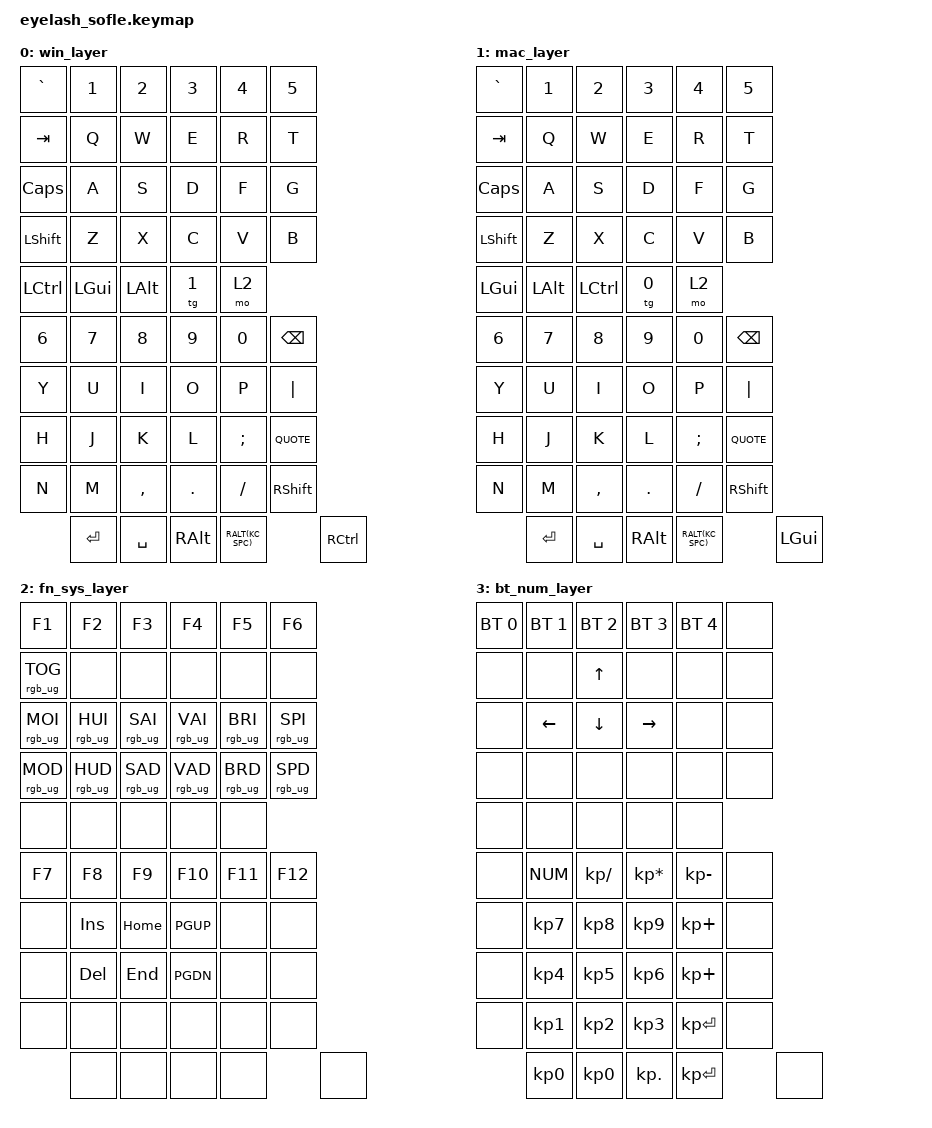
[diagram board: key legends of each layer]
#include <behaviors.dtsi>
#include <dt-bindings/zmk/keys.h>
#include <dt-bindings/zmk/rgb.h>
#include <dt-bindings/zmk/bt.h>

/ {
    keymap {
        compatible = "zmk,keymap";

        // Layer 0: Win Layer (Windows-based QWERTY)
        win_layer {
            bindings = <
                // Left Hand
                &kp GRAVE  &kp N1     &kp N2     &kp N3     &kp N4     &kp N5    // Row 1
                &kp TAB    &kp Q      &kp W      &kp E      &kp R      &kp T     // Row 2
                &kp CAPS   &kp A      &kp S      &kp D      &kp F      &kp G     // Row 3
                &kp LSHIFT &kp Z      &kp X      &kp C      &kp V      &kp B     // Row 4
                &kp LCTRL  &kp LGUI   &kp LALT   &tg 1      &mo 2             // Thumb row

                // Right Hand
                &kp N6     &kp N7     &kp N8     &kp N9     &kp N0     &kp BSPC  // Row 1
                &kp Y      &kp U      &kp I      &kp O      &kp P      &kp PIPE // Row 2
                &kp H      &kp J      &kp K      &kp L      &kp SCLN   &kp QUOTE // Row 3
                &kp N      &kp M      &kp COMMA  &kp DOT    &kp SLASH  &kp RSHIFT// Row 4
                           &kp ENTER  &kp SPACE  &kp RALT   &kp RALT(KC_SPC) &kp RCTRL // Thumb row
            >;
            // Left Encoder: Volume Up/Down
            encoder = <
                &kp VOLU &kp VOLD  // Knob (clockwise, counter-clockwise)
            >;
            // Right 5-way Switch: Arrow keys
            five_way_switch = <
                &kp UP &kp DOWN &kp LEFT &kp RIGHT &ENTER  // Up, Down, Left, Right, Press
            >;
        };

        // Layer 1: Mac Layer (macOS-based QWERTY)
        mac_layer {
            bindings = <
                // Left Hand
                &kp GRAVE  &kp N1     &kp N2     &kp N3     &kp N4     &kp N5    // Row 1
                &kp TAB    &kp Q      &kp W      &kp E      &kp R      &kp T     // Row 2
                &kp CAPS   &kp A      &kp S      &kp D      &kp F      &kp G     // Row 3
                &kp LSHIFT &kp Z      &kp X      &kp C      &kp V      &kp B     // Row 4
                &kp LGUI   &kp LALT   &kp LCTRL  &tg 0      &mo 2             // Thumb row

                // Right Hand
                &kp N6     &kp N7     &kp N8     &kp N9     &kp N0     &kp BSPC  // Row 1
                &kp Y      &kp U      &kp I      &kp O      &kp P      &kp PIPE // Row 2
                &kp H      &kp J      &kp K      &kp L      &kp SCLN   &kp QUOTE // Row 3
                &kp N      &kp M      &kp COMMA  &kp DOT    &kp SLASH  &kp RSHIFT// Row 4
                           &kp ENTER  &kp SPACE  &kp RALT   &kp RALT(KC_SPC) &kp LGUI  // Thumb row
            >;
            // Left Encoder: Volume Up/Down
            encoder = <
                &kp VOLU &kp VOLD  // Knob (clockwise, counter-clockwise)
            >;
            // Right 5-way Switch: Arrow keys
            five_way_switch = <
                &kp UP &kp DOWN &kp LEFT &kp RIGHT &ENTER  // Up, Down, Left, Right, Press
            >;
        };

        // Layer 2: Fn-Sys Layer (Function keys and RGB control)
        fn_sys_layer {
            bindings = <
                // Left Hand
                &kp F1     &kp F2     &kp F3     &kp F4     &kp F5     &kp F6    // Row 1
                &rgb_ug RGB_TOG      &none      &none      &none      &none      &none     // Row 2
                &rgb_ug RGB_MOI      &rgb_ug RGB_HUI      &rgb_ug RGB_SAI      &rgb_ug RGB_VAI      &rgb_ug RGB_BRI      &rgb_ug RGB_SPI // Row 3
                &rgb_ug RGB_MOD      &rgb_ug RGB_HUD      &rgb_ug RGB_SAD      &rgb_ug RGB_VAD      &rgb_ug RGB_BRD      &rgb_ug RGB_SPD // Row 4
                &none      &none      &none      &none      &none               // Thumb row

                // Right Hand
                &kp F7     &kp F8     &kp F9     &kp F10    &kp F11    &kp F12   // Row 1
                &none      &kp INSERT &kp HOME   &kp PGUP   &none      &none     // Row 2
                &none      &kp DELETE &kp END    &kp PGDN   &none      &none     // Row 3
                &none      &none      &none      &none      &none      &none     // Row 4
                           &none      &none      &none      &none      &none     // Thumb row
            >;
            // Left Encoder: Brightness Up/Down
            encoder = <
                &kp BRIGHTNESS_UP &kp BRIGHTNESS_DOWN  // Knob (clockwise, counter-clockwise)
            >;
            // Right 5-way Switch: Arrow keys
            five_way_switch = <
                &kp UP &kp DOWN &kp LEFT &kp RIGHT &ENTER  // Up, Down, Left, Right, Press
            >;
        };

        // Layer 3: BT-Num Layer (Bluetooth and Numpad)
        bt_num_layer {
            bindings = <
                // Left Hand
                &bt BT_SEL 0 &bt BT_SEL 1 &bt BT_SEL 2 &bt BT_SEL 3 &bt BT_SEL 4 &none // Row 1
                &none      &none      &kp UP     &none      &none      &none     // Row 2
                &none      &kp LEFT   &kp DOWN   &kp RIGHT  &none      &none     // Row 3
                &none      &none      &none      &none      &none      &none     // Row 4
                &none      &none      &none      &none      &none               // Thumb row

                // Right Hand
                &none      &kp NUM    &kp KP_SLASH &kp KP_ASTERISK &kp KP_MINUS &none // Row 1
                &none      &kp KP_7   &kp KP_8     &kp KP_9     &kp KP_PLUS  &none // Row 2
                &none      &kp KP_4   &kp KP_5     &kp KP_6     &kp KP_PLUS  &none // Row 3
                &none      &kp KP_1   &kp KP_2     &kp KP_3     &kp KP_ENTER &none // Row 4
                           &kp KP_0   &kp KP_0     &kp KP_DOT   &kp KP_ENTER &none // Thumb row
            >;
            // Left Encoder: Not used
            encoder = <
                &none &none  // Knob (clockwise, counter-clockwise)
            >;
            // Right 5-way Switch: Arrow keys
            five_way_switch = <
                &kp UP &kp DOWN &kp LEFT &kp RIGHT &ENTER  // Up, Down, Left, Right, Press
            >;
        };
    };
};
